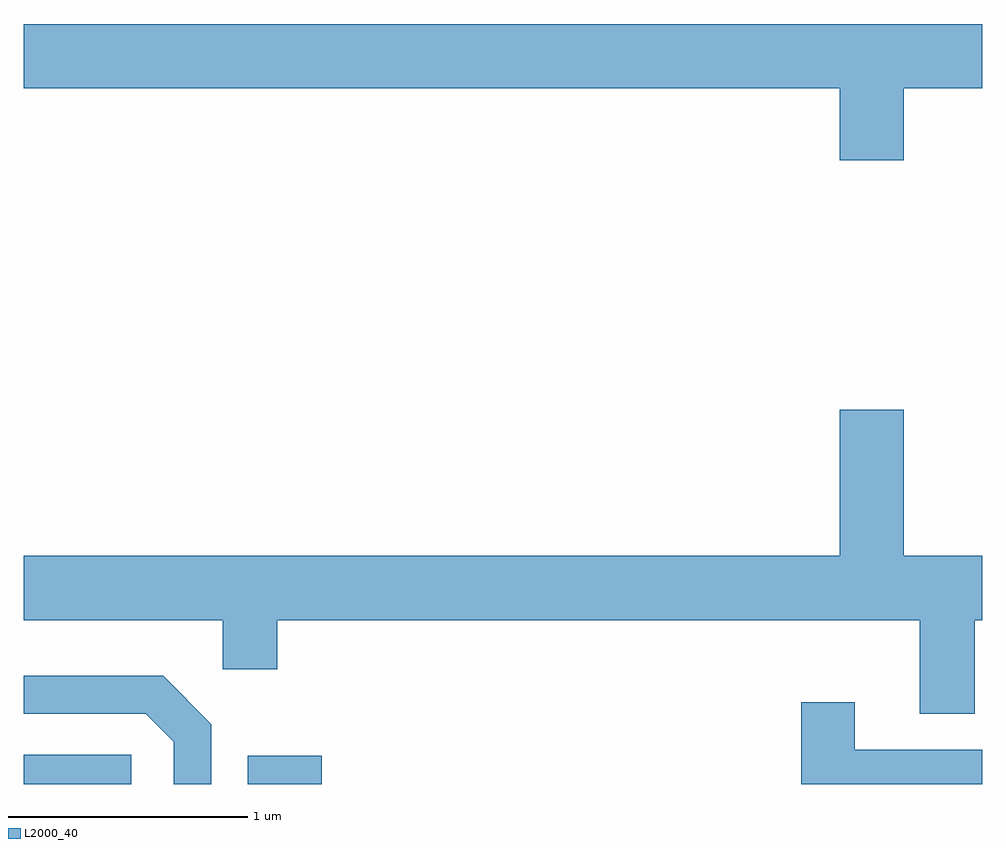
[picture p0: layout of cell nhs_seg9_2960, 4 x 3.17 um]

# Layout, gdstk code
import gdstk
lib = gdstk.Library(unit=1e-6, precision=1e-09)
def R(c, l, rs):  # rectangles x0, y0, x1, y1
    for r in rs: c.add(gdstk.rectangle(r[:2], r[2:], *l))
def P(c, l, *ps):  # polygons
    for p in ps: c.add(gdstk.Polygon(p, *l))
L2000_40 = (2000, 40)

nhs_seg9_2960 = lib.new_cell('nhs_seg9_2960')
R(nhs_seg9_2960, L2000_40, [(271.611,2024.432,272.059,2024.554), (272.546,2024.432,272.854,2024.549)])
P(nhs_seg9_2960, L2000_40, [(275.284,2027.336),(275.611,2027.336),(275.611,2027.604),(271.611,2027.604),(271.611,2027.336),(275.016,2027.336),(275.016,2027.036),(275.284,2027.036)],
  [(275.579,2025.116),(275.611,2025.116),(275.611,2025.384),(275.284,2025.384),(275.284,2025.994),(275.016,2025.994),(275.016,2025.384),(271.611,2025.384),(271.611,2025.116),(272.441,2025.116),(272.441,2024.911),(272.669,2024.911),(272.669,2025.116),(275.351,2025.116),(275.351,2024.726),(275.579,2024.726)],
  [(272.394,2024.682),(272.192,2024.884),(271.611,2024.884),(271.611,2024.726),(272.119,2024.726),(272.236,2024.609),(272.236,2024.432),(272.394,2024.432)],
  [(275.611,2024.574),(275.079,2024.574),(275.079,2024.774),(274.856,2024.774),(274.856,2024.432),(275.611,2024.432)])

lib.write_gds('nhs_seg9_2960.gds')
